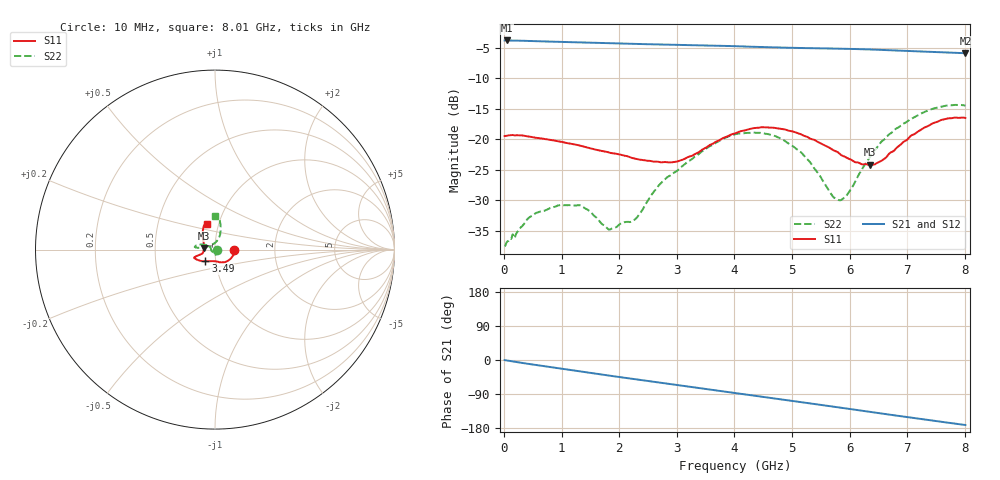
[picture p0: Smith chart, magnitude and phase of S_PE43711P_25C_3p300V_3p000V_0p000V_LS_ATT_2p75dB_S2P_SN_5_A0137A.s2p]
! Device ID: PE43711P
! File Path: z:\PE43711P\CHAR_NOM_04282014\AMB\3p300\LS_ATT_2p75dB\PE43711P_AMB_3p300V_3p000V_0p000V_LS_ATT_2p75dB_S2P_SN_5_A0137A.s2p
! Serial: 5
! Lot: A0137A
! Temp: 25C
! VDD: 3.300
! VSS: 0.000
! Control_Hi: 3.000
! Control_Lo: 0.000
! Attenuation Step: 2.75dB
! Port 1: RF1
! Port 2: RF2
! ThroughPath:1-2
! IDD: 0.000127662
! ISS: -2.49e-008
#  Hz  S  RI  R  50
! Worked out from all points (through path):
!   801 points, 10 MHz to 8.01 GHz, reference 50 ohm
!   highest |S21| = -3.80 dB at 50 MHz (marker M1); lowest = -5.9 dB at 8.01 GHz (marker M2)
!   group delay of S21, straight-line fit = 59 ps
!   lowest |S11| = -24.2 dB at 6.36 GHz (marker M3), VSWR 1.13, Z = 44.2 + j0.75 ohm
!   |S11| at or under -10 dB: start of sweep to end of sweep
!   |S22| runs from -37.5 to -14.4 dB; largest |S21 - S12| = 0.00087
!   S11 on the Smith chart (normalised r, x): 10 MHz: 1.24, -0.00; 3.49 GHz: 0.89, -0.12; 8.01 GHz: 0.88, +0.26
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1e7  0.1064 -0.00061  0.6456 -0.00316  0.6458 -0.00329  0.0133 -9.15e-05
5e7  0.1071 -0.00304  0.6456 -0.0142  0.6455 -0.0142  0.0145 -0.000455
4.2e8  0.1001 -0.0334  0.6298 -0.113  0.6297 -0.113  0.0155 -0.0164
5.7e8  0.0936 -0.0426  0.6188 -0.1499  0.6188 -0.1499  0.0147 -0.0203
9.6e8  0.0743 -0.0609  0.5817 -0.2389  0.5819 -0.2389  0.00779 -0.0278
1.35e9  0.0538 -0.0697  0.534 -0.3193  0.5343 -0.3195  -0.000188 -0.0284
1.86e9  0.0313 -0.0706  0.4562 -0.4095  0.4566 -0.4097  -0.0133 -0.0128
2.28e9  0.0167 -0.0675  0.3818 -0.4694  0.3822 -0.4696  -0.022 0.00308
2.68e9  0.0036 -0.0654  0.3066 -0.5147  0.3069 -0.5151  -0.0354 0.022
3.02e9  -0.0164 -0.0641  0.238 -0.5453  0.2382 -0.5458  -0.0498 0.0257
3.49e9  -0.0537 -0.0656  0.1385 -0.5715  0.1385 -0.572  -0.0774 0.0285
4.01e9  -0.0962 -0.0572  0.025 -0.5791  0.0248 -0.5796  -0.1081 0.0202
4.71e9  -0.1159 -0.0441  -0.1189 -0.5544  -0.1188 -0.5546  -0.1057 0.0111
5.13e9  -0.105 -0.0373  -0.1983 -0.5241  -0.1985 -0.5246  -0.0793 0.0115
5.35e9  -0.095 -0.0317  -0.2383 -0.5045  -0.2385 -0.5051  -0.06 0.0127
5.69e9  -0.0785 -0.0267  -0.298 -0.4678  -0.2981 -0.4679  -0.0277 0.0215
5.84e9  -0.0715 -0.0232  -0.3228 -0.4485  -0.3227 -0.4487  -0.0139 0.0285
5.97e9  -0.0675 -0.0177  -0.343 -0.431  -0.343 -0.4313  -0.00271 0.0358
6.36e9  -0.0613 0.00845  -0.3983 -0.3716  -0.3986 -0.3719  0.023 0.0688
6.68e9  -0.0638 0.0409  -0.4345 -0.3172  -0.4344 -0.3174  0.0307 0.1049
7.44e9  -0.0659 0.118  -0.4874 -0.1778  -0.4877 -0.178  0.0194 0.1767
8.01e9  -0.046 0.1423  -0.5023 -0.0747  -0.5027 -0.0741  -0.00188 0.1892
